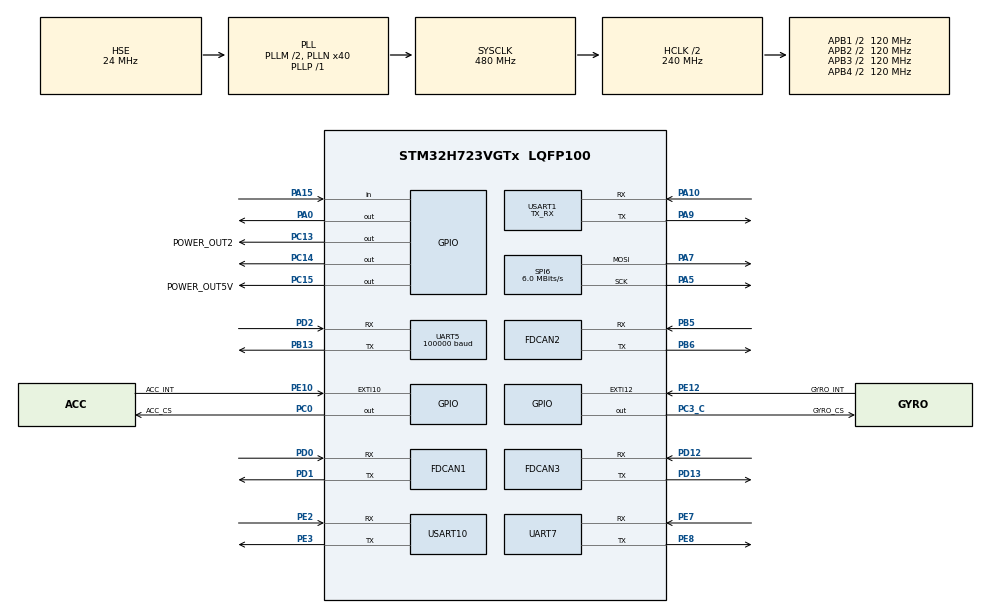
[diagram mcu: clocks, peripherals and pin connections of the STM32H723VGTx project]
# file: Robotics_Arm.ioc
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CORTEX_M7.CPU_DCache=Disabled
CORTEX_M7.CPU_ICache=Disabled
CORTEX_M7.default_mode_Activation=0
Dma.Request0=UART7_RX
Dma.Request1=UART7_TX
Dma.Request2=USART10_RX
Dma.Request3=USART10_TX
Dma.Request4=USART1_TX
Dma.Request5=UART5_RX
Dma.Request6=USART1_RX
Dma.UART5_RX.5.Direction=DMA_PERIPH_TO_MEMORY
Dma.UART5_RX.5.EventEnable=DISABLE
Dma.UART5_RX.5.FIFOMode=DMA_FIFOMODE_DISABLE
Dma.UART5_RX.5.Instance=DMA1_Stream0
Dma.UART5_RX.5.MemDataAlignment=DMA_MDATAALIGN_BYTE
Dma.UART5_RX.5.MemInc=DMA_MINC_ENABLE
Dma.UART5_RX.5.Mode=DMA_NORMAL
Dma.UART5_RX.5.PeriphDataAlignment=DMA_PDATAALIGN_BYTE
Dma.UART5_RX.5.PeriphInc=DMA_PINC_DISABLE
Dma.UART5_RX.5.Polarity=HAL_DMAMUX_REQ_GEN_RISING
Dma.UART5_RX.5.Priority=DMA_PRIORITY_VERY_HIGH
Dma.UART5_RX.5.RequestNumber=1
Dma.UART5_RX.5.SignalID=NONE
Dma.UART5_RX.5.SyncEnable=DISABLE
Dma.UART5_RX.5.SyncPolarity=HAL_DMAMUX_SYNC_NO_EVENT
Dma.UART5_RX.5.SyncRequestNumber=1
Dma.UART5_RX.5.SyncSignalID=NONE
Dma.UART7_RX.0.Direction=DMA_PERIPH_TO_MEMORY
Dma.UART7_RX.0.EventEnable=DISABLE
Dma.UART7_RX.0.FIFOMode=DMA_FIFOMODE_DISABLE
Dma.UART7_RX.0.Instance=DMA1_Stream2
Dma.UART7_RX.0.MemDataAlignment=DMA_MDATAALIGN_BYTE
Dma.UART7_RX.0.MemInc=DMA_MINC_ENABLE
Dma.UART7_RX.0.Mode=DMA_NORMAL
Dma.UART7_RX.0.PeriphDataAlignment=DMA_PDATAALIGN_BYTE
Dma.UART7_RX.0.PeriphInc=DMA_PINC_DISABLE
Dma.UART7_RX.0.Polarity=HAL_DMAMUX_REQ_GEN_RISING
Dma.UART7_RX.0.Priority=DMA_PRIORITY_LOW
Dma.UART7_RX.0.RequestNumber=1
Dma.UART7_RX.0.SignalID=NONE
Dma.UART7_RX.0.SyncEnable=DISABLE
Dma.UART7_RX.0.SyncPolarity=HAL_DMAMUX_SYNC_NO_EVENT
Dma.UART7_RX.0.SyncRequestNumber=1
Dma.UART7_RX.0.SyncSignalID=NONE
Dma.UART7_TX.1.Direction=DMA_MEMORY_TO_PERIPH
Dma.UART7_TX.1.EventEnable=DISABLE
Dma.UART7_TX.1.FIFOMode=DMA_FIFOMODE_DISABLE
Dma.UART7_TX.1.Instance=DMA1_Stream3
Dma.UART7_TX.1.MemDataAlignment=DMA_MDATAALIGN_BYTE
Dma.UART7_TX.1.MemInc=DMA_MINC_ENABLE
Dma.UART7_TX.1.Mode=DMA_NORMAL
Dma.UART7_TX.1.PeriphDataAlignment=DMA_PDATAALIGN_BYTE
Dma.UART7_TX.1.PeriphInc=DMA_PINC_DISABLE
Dma.UART7_TX.1.Polarity=HAL_DMAMUX_REQ_GEN_RISING
Dma.UART7_TX.1.Priority=DMA_PRIORITY_LOW
Dma.UART7_TX.1.RequestNumber=1
Dma.UART7_TX.1.SignalID=NONE
Dma.UART7_TX.1.SyncEnable=DISABLE
Dma.UART7_TX.1.SyncPolarity=HAL_DMAMUX_SYNC_NO_EVENT
Dma.UART7_TX.1.SyncRequestNumber=1
Dma.UART7_TX.1.SyncSignalID=NONE
Dma.USART10_RX.2.Direction=DMA_PERIPH_TO_MEMORY
Dma.USART10_RX.2.EventEnable=DISABLE
Dma.USART10_RX.2.FIFOMode=DMA_FIFOMODE_DISABLE
Dma.USART10_RX.2.Instance=DMA1_Stream4
Dma.USART10_RX.2.MemDataAlignment=DMA_MDATAALIGN_BYTE
Dma.USART10_RX.2.MemInc=DMA_MINC_ENABLE
Dma.USART10_RX.2.Mode=DMA_NORMAL
Dma.USART10_RX.2.PeriphDataAlignment=DMA_PDATAALIGN_BYTE
Dma.USART10_RX.2.PeriphInc=DMA_PINC_DISABLE
Dma.USART10_RX.2.Polarity=HAL_DMAMUX_REQ_GEN_RISING
Dma.USART10_RX.2.Priority=DMA_PRIORITY_LOW
Dma.USART10_RX.2.RequestNumber=1
Dma.USART10_RX.2.SignalID=NONE
Dma.USART10_RX.2.SyncEnable=DISABLE
Dma.USART10_RX.2.SyncPolarity=HAL_DMAMUX_SYNC_NO_EVENT
Dma.USART10_RX.2.SyncRequestNumber=1
Dma.USART10_RX.2.SyncSignalID=NONE
Dma.USART10_TX.3.Direction=DMA_MEMORY_TO_PERIPH
Dma.USART10_TX.3.EventEnable=DISABLE
Dma.USART10_TX.3.FIFOMode=DMA_FIFOMODE_DISABLE
Dma.USART10_TX.3.Instance=DMA1_Stream5
Dma.USART10_TX.3.MemDataAlignment=DMA_MDATAALIGN_BYTE
Dma.USART10_TX.3.MemInc=DMA_MINC_ENABLE
Dma.USART10_TX.3.Mode=DMA_NORMAL
Dma.USART10_TX.3.PeriphDataAlignment=DMA_PDATAALIGN_BYTE
Dma.USART10_TX.3.PeriphInc=DMA_PINC_DISABLE
Dma.USART10_TX.3.Polarity=HAL_DMAMUX_REQ_GEN_RISING
Dma.USART10_TX.3.Priority=DMA_PRIORITY_LOW
Dma.USART10_TX.3.RequestNumber=1
Dma.USART10_TX.3.SignalID=NONE
Dma.USART10_TX.3.SyncEnable=DISABLE
Dma.USART10_TX.3.SyncPolarity=HAL_DMAMUX_SYNC_NO_EVENT
Dma.USART10_TX.3.SyncRequestNumber=1
Dma.USART10_TX.3.SyncSignalID=NONE
Dma.USART1_RX.6.Direction=DMA_PERIPH_TO_MEMORY
Dma.USART1_RX.6.EventEnable=DISABLE
Dma.USART1_RX.6.FIFOMode=DMA_FIFOMODE_DISABLE
Dma.USART1_RX.6.Instance=DMA1_Stream1
Dma.USART1_RX.6.MemDataAlignment=DMA_MDATAALIGN_BYTE
Dma.USART1_RX.6.MemInc=DMA_MINC_ENABLE
Dma.USART1_RX.6.Mode=DMA_NORMAL
Dma.USART1_RX.6.PeriphDataAlignment=DMA_PDATAALIGN_BYTE
Dma.USART1_RX.6.PeriphInc=DMA_PINC_DISABLE
Dma.USART1_RX.6.Polarity=HAL_DMAMUX_REQ_GEN_RISING
Dma.USART1_RX.6.Priority=DMA_PRIORITY_LOW
Dma.USART1_RX.6.RequestNumber=1
Dma.USART1_RX.6.SignalID=NONE
Dma.USART1_RX.6.SyncEnable=DISABLE
Dma.USART1_RX.6.SyncPolarity=HAL_DMAMUX_SYNC_NO_EVENT
Dma.USART1_RX.6.SyncRequestNumber=1
Dma.USART1_RX.6.SyncSignalID=NONE
Dma.USART1_TX.4.Direction=DMA_MEMORY_TO_PERIPH
Dma.USART1_TX.4.EventEnable=DISABLE
Dma.USART1_TX.4.FIFOMode=DMA_FIFOMODE_DISABLE
Dma.USART1_TX.4.Instance=DMA1_Stream6
Dma.USART1_TX.4.MemDataAlignment=DMA_MDATAALIGN_BYTE
Dma.USART1_TX.4.MemInc=DMA_MINC_ENABLE
Dma.USART1_TX.4.Mode=DMA_NORMAL
Dma.USART1_TX.4.PeriphDataAlignment=DMA_PDATAALIGN_BYTE
Dma.USART1_TX.4.PeriphInc=DMA_PINC_DISABLE
Dma.USART1_TX.4.Polarity=HAL_DMAMUX_REQ_GEN_RISING
Dma.USART1_TX.4.Priority=DMA_PRIORITY_HIGH
Dma.USART1_TX.4.RequestNumber=1
Dma.USART1_TX.4.SignalID=NONE
Dma.USART1_TX.4.SyncEnable=DISABLE
Dma.USART1_TX.4.SyncPolarity=HAL_DMAMUX_SYNC_NO_EVENT
Dma.USART1_TX.4.SyncRequestNumber=1
Dma.USART1_TX.4.SyncSignalID=NONE
FDCAN1.CalculateBaudRateNominal=1000000
FDCAN1.CalculateTimeBitNominal=1000
FDCAN1.CalculateTimeQuantumNominal=200.0
FDCAN1.NominalPrescaler=24
FDCAN1.NominalTimeSeg1=2
FDCAN1.NominalTimeSeg2=2
FDCAN1.RxFifo0ElmtsNbr=32
FDCAN1.StdFiltersNbr=1
FDCAN1.TxFifoQueueElmtsNbr=32
FDCAN2.CalculateBaudRateNominal=1000000
FDCAN2.CalculateTimeBitNominal=1000
FDCAN2.CalculateTimeQuantumNominal=200.0
FDCAN2.MessageRAMOffset=0x406
FDCAN2.NominalPrescaler=24
FDCAN2.RxFifo0ElmtsNbr=32
FDCAN2.StdFiltersNbr=1
FDCAN2.TxFifoQueueElmtsNbr=32
FDCAN3.CalculateBaudRateNominal=1000000
FDCAN3.CalculateTimeBitNominal=1000
FDCAN3.CalculateTimeQuantumNominal=200.0
FDCAN3.MessageRAMOffset=0x812
FDCAN3.NominalPrescaler=24
FDCAN3.RxFifo0ElmtsNbr=32
FDCAN3.StdFiltersNbr=1
FDCAN3.TxFifoQueueElmtsNbr=32
FREERTOS.INCLUDE_eTaskGetState=1
FREERTOS.INCLUDE_uxTaskGetStackHighWaterMark=1
FREERTOS.INCLUDE_vTaskDelayUntil=1
FREERTOS.INCLUDE_xQueueGetMutexHolder=1
FREERTOS.INCLUDE_xTaskGetCurrentTaskHandle=1
FREERTOS.INCLUDE_xTimerPendFunctionCall=1
FREERTOS.MEMORY_ALLOCATION=2
FREERTOS.Tasks01=StartDebugTask,0,128,StartDebug,Default,NULL,Static,defaultTaskBuffer,defaultTaskControlBlock;MotorOutputTask,2,512,MotorOutput,Default,NULL,Static,myTask04Buffer,myTask04ControlBlock;ArmTask,1,256,Arm,Default,NULL,Static,myTask05Buffer,myTask05ControlBlock;RCTask,2,1024,RC,Default,NULL,Static,myTask06Buffer,myTask06ControlBlock
FREERTOS.configENABLE_FPU=1
FREERTOS.configUSE_COUNTING_SEMAPHORES=1
FREERTOS.configUSE_RECURSIVE_MUTEXES=1
FREERTOS.configUSE_TIMERS=1
FREERTOS.configUSE_TRACE_FACILITY=1
Mcu.Family=STM32H7
Mcu.Name=STM32H723VGTx
Mcu.Package=LQFP100
NVIC.DMA1_Stream0_IRQn=true\:5\:0\:false\:false\:true\:true\:false\:true\:true
NVIC.DMA1_Stream1_IRQn=true\:5\:0\:false\:false\:true\:true\:false\:true\:true
NVIC.DMA1_Stream2_IRQn=true\:5\:0\:false\:false\:true\:true\:false\:true\:true
NVIC.DMA1_Stream3_IRQn=true\:5\:0\:false\:false\:true\:true\:false\:true\:true
NVIC.DMA1_Stream4_IRQn=true\:5\:0\:false\:false\:true\:true\:false\:true\:true
NVIC.DMA1_Stream5_IRQn=true\:5\:0\:false\:false\:true\:true\:false\:true\:true
NVIC.DMA1_Stream6_IRQn=true\:5\:0\:false\:false\:true\:true\:false\:true\:true
NVIC.EXTI15_10_IRQn=true\:6\:0\:true\:false\:true\:true\:true\:true\:true
NVIC.FDCAN1_IT0_IRQn=true\:5\:0\:false\:false\:true\:true\:true\:true\:true
NVIC.FDCAN1_IT1_IRQn=true\:5\:0\:false\:false\:true\:true\:true\:true\:true
NVIC.FDCAN2_IT0_IRQn=true\:5\:0\:false\:false\:true\:true\:true\:true\:true
NVIC.FDCAN2_IT1_IRQn=true\:5\:0\:false\:false\:true\:true\:true\:true\:true
NVIC.FDCAN3_IT0_IRQn=true\:5\:0\:false\:false\:true\:true\:true\:true\:true
NVIC.FDCAN3_IT1_IRQn=true\:5\:0\:false\:false\:true\:true\:true\:true\:true
NVIC.PriorityGroup=NVIC_PRIORITYGROUP_4
NVIC.TIM1_UP_IRQn=true\:15\:0\:false\:false\:true\:false\:false\:true\:true
NVIC.TimeBase=TIM1_UP_IRQn
NVIC.TimeBaseIP=TIM1
NVIC.UART5_IRQn=true\:5\:0\:false\:false\:true\:true\:true\:true\:true
NVIC.UART7_IRQn=true\:5\:0\:false\:false\:true\:true\:true\:true\:true
NVIC.USART10_IRQn=true\:5\:0\:false\:false\:true\:true\:true\:true\:true
NVIC.USART1_IRQn=true\:5\:0\:false\:false\:true\:true\:true\:true\:true
PA0.GPIO_Speed=GPIO_SPEED_FREQ_VERY_HIGH
PA0.Signal=GPIO_Output
PA10.GPIO_Speed=GPIO_SPEED_FREQ_VERY_HIGH
PA10.Mode=Asynchronous
PA10.Signal=USART1_RX
PA13(JTMS/SWDIO).Mode=Serial_Wire
PA13(JTMS/SWDIO).Signal=DEBUG_JTMS-SWDIO
PA14(JTCK/SWCLK).Mode=Serial_Wire
PA14(JTCK/SWCLK).Signal=DEBUG_JTCK-SWCLK
PA15(JTDI).Signal=GPIO_Input
PA5.Mode=TX_Only_Simplex_Unidirect_Master
PA5.Signal=SPI6_SCK
PA7.Mode=TX_Only_Simplex_Unidirect_Master
PA7.Signal=SPI6_MOSI
PA9.GPIO_Speed=GPIO_SPEED_FREQ_VERY_HIGH
PA9.Mode=Asynchronous
PA9.Signal=USART1_TX
PB13.GPIO_Speed=GPIO_SPEED_FREQ_LOW
PB13.Mode=Asynchronous
PB13.Signal=UART5_TX
PB5.Mode=FDCAN_Activate
PB5.Signal=FDCAN2_RX
PB6.Mode=FDCAN_Activate
PB6.Signal=FDCAN2_TX
PC0.GPIO_Label=ACC_CS
PC0.GPIO_Speed=GPIO_SPEED_FREQ_VERY_HIGH
PC0.PinState=GPIO_PIN_SET
PC0.Signal=GPIO_Output
PC13.GPIO_Label=POWER_OUT2
PC13.PinState=GPIO_PIN_SET
PC13.Signal=GPIO_Output
PC14-OSC32_IN.Signal=GPIO_Output
PC15-OSC32_OUT.GPIO_Label=POWER_OUT5V
PC15-OSC32_OUT.PinState=GPIO_PIN_SET
PC15-OSC32_OUT.Signal=GPIO_Output
PC3_C.GPIO_Label=GYRO_CS
PC3_C.GPIO_Speed=GPIO_SPEED_FREQ_VERY_HIGH
PC3_C.PinState=GPIO_PIN_SET
PC3_C.Signal=GPIO_Output
PD0.Mode=FDCAN_Activate
PD0.Signal=FDCAN1_RX
PD1.Mode=FDCAN_Activate
PD1.Signal=FDCAN1_TX
PD12.Mode=FDCAN_Activate
PD12.Signal=FDCAN3_RX
PD13.Mode=FDCAN_Activate
PD13.Signal=FDCAN3_TX
PD2.GPIO_Speed=GPIO_SPEED_FREQ_LOW
PD2.Mode=Asynchronous
PD2.Signal=UART5_RX
PE10.GPIO_Label=ACC_INT
PE10.Signal=GPXTI10
PE12.GPIO_Label=GYRO_INT
PE12.Signal=GPXTI12
PE2.GPIO_Speed=GPIO_SPEED_FREQ_VERY_HIGH
PE2.Mode=Asynchronous
PE2.Signal=USART10_RX
PE3.GPIO_Speed=GPIO_SPEED_FREQ_VERY_HIGH
PE3.Mode=Asynchronous
PE3.Signal=USART10_TX
PE7.GPIO_Speed=GPIO_SPEED_FREQ_VERY_HIGH
PE7.Mode=Asynchronous
PE7.Signal=UART7_RX
PE8.GPIO_Speed=GPIO_SPEED_FREQ_VERY_HIGH
PE8.Mode=Asynchronous
PE8.Signal=UART7_TX
PH0-OSC_IN.Mode=HSE-External-Oscillator
PH0-OSC_IN.Signal=RCC_OSC_IN
PH1-OSC_OUT.Mode=HSE-External-Oscillator
PH1-OSC_OUT.Signal=RCC_OSC_OUT
ProjectManager.HeapSize=0x200
ProjectManager.StackSize=0x400
ProjectManager.TargetToolchain=STM32CubeIDE
RCC.ADCFreq_Value=96000000
RCC.APB1Freq_Value=120000000
RCC.APB2Freq_Value=120000000
RCC.APB3Freq_Value=120000000
RCC.APB4Freq_Value=120000000
RCC.CortexFreq_Value=480000000
RCC.D1PPRE=RCC_APB3_DIV2
RCC.D2PPRE1=RCC_APB1_DIV2
RCC.D2PPRE2=RCC_APB2_DIV2
RCC.D3PPRE=RCC_APB4_DIV2
RCC.DIVM1=2
RCC.DIVM2=2
RCC.DIVN1=40
RCC.DIVN2=16
RCC.DIVP1=1
RCC.DIVQ1=4
RCC.HCLKFreq_Value=240000000
RCC.HPRE=RCC_HCLK_DIV2
RCC.HSE_VALUE=24000000
RCC.PLL1_VCO_SEL-AdvancedSettings=RCC_PLL1VCOMEDIUM
RCC.PLL2FRACN=0
RCC.PLL2_VCO_SEL-AdvancedSettings=RCC_PLL2VCOWIDE
RCC.PLL3_VCI_Range-AdvancedSettings=RCC_PLL3VCIRANGE_3
RCC.PLL3_VCO_SEL-AdvancedSettings=RCC_PLL3VCOMEDIUM
RCC.PLLFRACN=0
RCC.PLLSourceVirtual=RCC_PLLSOURCE_HSE
RCC.SPI6CLockSelection=RCC_SPI6CLKSOURCE_HSE
RCC.SYSCLKFreq_VALUE=480000000
RCC.SYSCLKSource=RCC_SYSCLKSOURCE_PLLCLK
RCC.USBCLockSelection=RCC_USBCLKSOURCE_HSI48
RCC.USBFreq_Value=48000000
SPI6.BaudRatePrescaler=SPI_BAUDRATEPRESCALER_4
SPI6.CLKPhase=SPI_PHASE_2EDGE
SPI6.CalculateBaudRate=6.0 MBits/s
SPI6.DataSize=SPI_DATASIZE_8BIT
SPI6.Direction=SPI_DIRECTION_2LINES_TXONLY
SPI6.Mode=SPI_MODE_MASTER
SPI6.VirtualType=VM_MASTER
STMicroelectronics.X-CUBE-ALGOBUILD.1.3.0.LibraryCcDSPOoLibraryJjDSPOoLibrary=true
UART5.BaudRate=100000
UART5.Parity=PARITY_EVEN
UART5.StopBits=UART_STOPBITS_2
UART5.WordLength=WORDLENGTH_9B
USART1.FIFOMode=FIFOMODE_DISABLE
USART1.Mode=MODE_TX_RX
USART1.VirtualMode-Asynchronous=VM_ASYNC
USART10.VirtualMode=VM_ASYNC
VP_FREERTOS_VS_CMSIS_V1.Mode=CMSIS_V1
VP_STMicroelectronics.X-CUBE-ALGOBUILD_VS_DSPOoLibraryJjLibrary_1.3.0_1.3.0.Mode=DSPOoLibraryJjLibrary
VP_SYS_VS_tim1.Mode=TIM1
board=custom

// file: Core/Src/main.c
/* USER CODE BEGIN Header */
/**
  ******************************************************************************
  * @file           : main.c
  * @brief          : Main program body
  ******************************************************************************
  * @attention
  *
  * Copyright (c) 2024 STMicroelectronics.
  * All rights reserved.
  *
  * This software is licensed under terms that can be found in the LICENSE file
  * in the root directory of this software component.
  * If no LICENSE file comes with this software, it is provided AS-IS.
  *
  ******************************************************************************
  */
/* USER CODE END Header */
#include "main.h"
#include "cmsis_os.h"
#include "dma.h"
#include "fdcan.h"
#include "spi.h"
#include "usart.h"
#include "gpio.h"

void SystemClock_Config(void);
void MX_FREERTOS_Init(void);

int main(void)
{

  /* MCU Configuration--------------------------------------------------------*/

  /* Reset of all peripherals, Initializes the Flash interface and the Systick. */
  HAL_Init();

  /* Configure the system clock */
  SystemClock_Config();

  /* Initialize all configured peripherals */
  MX_GPIO_Init();
  MX_DMA_Init();
  MX_USART1_UART_Init();
  MX_UART7_Init();
  MX_USART10_UART_Init();
  MX_FDCAN1_Init();
  MX_FDCAN2_Init();
  MX_FDCAN3_Init();
  MX_UART5_Init();
  MX_SPI6_Init();

  /* Call init function for freertos objects (in freertos.c) */
  MX_FREERTOS_Init();

  /* Start scheduler */
  osKernelStart();

  /* We should never get here as control is now taken by the scheduler */
  /* Infinite loop */
  while (1)
  {

  }
}

void SystemClock_Config(void)
{
  RCC_OscInitTypeDef RCC_OscInitStruct = {0};
  RCC_ClkInitTypeDef RCC_ClkInitStruct = {0};

  /** Supply configuration update enable
  */
  HAL_PWREx_ConfigSupply(PWR_LDO_SUPPLY);

  /** Configure the main internal regulator output voltage
  */
  __HAL_PWR_VOLTAGESCALING_CONFIG(PWR_REGULATOR_VOLTAGE_SCALE0);

  while(!__HAL_PWR_GET_FLAG(PWR_FLAG_VOSRDY)) {}

  /** Initializes the RCC Oscillators according to the specified parameters
  * in the RCC_OscInitTypeDef structure.
  */
  RCC_OscInitStruct.OscillatorType = RCC_OSCILLATORTYPE_HSE;
  RCC_OscInitStruct.HSEState = RCC_HSE_ON;
  RCC_OscInitStruct.PLL.PLLState = RCC_PLL_ON;
  RCC_OscInitStruct.PLL.PLLSource = RCC_PLLSOURCE_HSE;
  RCC_OscInitStruct.PLL.PLLM = 2;
  RCC_OscInitStruct.PLL.PLLN = 40;
  RCC_OscInitStruct.PLL.PLLP = 1;
  RCC_OscInitStruct.PLL.PLLQ = 4;
  RCC_OscInitStruct.PLL.PLLR = 2;
  RCC_OscInitStruct.PLL.PLLRGE = RCC_PLL1VCIRANGE_3;
  RCC_OscInitStruct.PLL.PLLVCOSEL = RCC_PLL1VCOWIDE;
  RCC_OscInitStruct.PLL.PLLFRACN = 0;
  if (HAL_RCC_OscConfig(&RCC_OscInitStruct) != HAL_OK)
  {
    Error_Handler();
  }

  /** Initializes the CPU, AHB and APB buses clocks
  */
  RCC_ClkInitStruct.ClockType = RCC_CLOCKTYPE_HCLK|RCC_CLOCKTYPE_SYSCLK
                              |RCC_CLOCKTYPE_PCLK1|RCC_CLOCKTYPE_PCLK2
                              |RCC_CLOCKTYPE_D3PCLK1|RCC_CLOCKTYPE_D1PCLK1;
  RCC_ClkInitStruct.SYSCLKSource = RCC_SYSCLKSOURCE_PLLCLK;
  RCC_ClkInitStruct.SYSCLKDivider = RCC_SYSCLK_DIV1;
  RCC_ClkInitStruct.AHBCLKDivider = RCC_HCLK_DIV2;
  RCC_ClkInitStruct.APB3CLKDivider = RCC_APB3_DIV2;
  RCC_ClkInitStruct.APB1CLKDivider = RCC_APB1_DIV2;
  RCC_ClkInitStruct.APB2CLKDivider = RCC_APB2_DIV2;
  RCC_ClkInitStruct.APB4CLKDivider = RCC_APB4_DIV2;

  if (HAL_RCC_ClockConfig(&RCC_ClkInitStruct, FLASH_LATENCY_3) != HAL_OK)
  {
    Error_Handler();
  }
}

void HAL_TIM_PeriodElapsedCallback(TIM_HandleTypeDef *htim)
{
  if (htim->Instance == TIM1) {
    HAL_IncTick();
  }
}

void Error_Handler(void)
{
  __disable_irq();
  while (1)
  {
  }
}

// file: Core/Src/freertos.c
/* USER CODE BEGIN Header */
/**
  ******************************************************************************
  * File Name          : freertos.c
  * Description        : Code for freertos applications
  ******************************************************************************
  * @attention
  *
  * Copyright (c) 2024 STMicroelectronics.
  * All rights reserved.
  *
  * This software is licensed under terms that can be found in the LICENSE file
  * in the root directory of this software component.
  * If no LICENSE file comes with this software, it is provided AS-IS.
  *
  ******************************************************************************
  */
/* USER CODE END Header */

#include "FreeRTOS.h"
#include "task.h"
#include "main.h"
#include "cmsis_os.h"

/* USER CODE BEGIN Includes */
#include "uart_bsp.h"
#include "can_bsp.h"
#include "BMI088driver.h"
#include "adc_modlue.h"
#include "usart.h"
#include "ws2812.h"
#include "DeepMotor.h"
#include "pid.h"
#include "Programming_by_Demonstration.h"
#include "printf.h"
/* USER CODE END Includes */

/* USER CODE BEGIN Variables */
uint8_t r = 1;
uint8_t g = 1;
uint8_t b = 1;
/* USER CODE END Variables */
osThreadId StartDebugTaskHandle;
uint32_t defaultTaskBuffer[ 128 ];
osStaticThreadDef_t defaultTaskControlBlock;
osThreadId MotorOutputTaskHandle;
uint32_t myTask04Buffer[ 512 ];
osStaticThreadDef_t myTask04ControlBlock;
osThreadId ArmTaskHandle;
uint32_t myTask05Buffer[ 256 ];
osStaticThreadDef_t myTask05ControlBlock;
osThreadId RCTaskHandle;
uint32_t myTask06Buffer[ 1024 ];
osStaticThreadDef_t myTask06ControlBlock;

void StartDebug(void const * argument);
void MotorOutput(void const * argument);
void Arm(void const * argument);
void RC(void const * argument);

void MX_FREERTOS_Init(void); /* (MISRA C 2004 rule 8.1) */

/* GetIdleTaskMemory prototype (linked to static allocation support) */
void vApplicationGetIdleTaskMemory( StaticTask_t **ppxIdleTaskTCBBuffer, StackType_t **ppxIdleTaskStackBuffer, uint32_t *pulIdleTaskStackSize );

/* GetTimerTaskMemory prototype (linked to static allocation support) */
void vApplicationGetTimerTaskMemory( StaticTask_t **ppxTimerTaskTCBBuffer, StackType_t **ppxTimerTaskStackBuffer, uint32_t *pulTimerTaskStackSize );

/* USER CODE BEGIN GET_IDLE_TASK_MEMORY */
static StaticTask_t xIdleTaskTCBBuffer;
static StackType_t xIdleStack[configMINIMAL_STACK_SIZE];

void vApplicationGetIdleTaskMemory( StaticTask_t **ppxIdleTaskTCBBuffer, StackType_t **ppxIdleTaskStackBuffer, uint32_t *pulIdleTaskStackSize )
{
  *ppxIdleTaskTCBBuffer = &xIdleTaskTCBBuffer;
  *ppxIdleTaskStackBuffer = &xIdleStack[0];
  *pulIdleTaskStackSize = configMINIMAL_STACK_SIZE;
  /* place for user code */
}
/* USER CODE END GET_IDLE_TASK_MEMORY */

/* USER CODE BEGIN GET_TIMER_TASK_MEMORY */
static StaticTask_t xTimerTaskTCBBuffer;
static StackType_t xTimerStack[configTIMER_TASK_STACK_DEPTH];

void vApplicationGetTimerTaskMemory( StaticTask_t **ppxTimerTaskTCBBuffer, StackType_t **ppxTimerTaskStackBuffer, uint32_t *pulTimerTaskStackSize )
{
  *ppxTimerTaskTCBBuffer = &xTimerTaskTCBBuffer;
  *ppxTimerTaskStackBuffer = &xTimerStack[0];
  *pulTimerTaskStackSize = configTIMER_TASK_STACK_DEPTH;
  /* place for user code */
}
/* USER CODE END GET_TIMER_TASK_MEMORY */

void MX_FREERTOS_Init(void) {

  /* Create the thread(s) */
  /* definition and creation of StartDebugTask */
  osThreadStaticDef(StartDebugTask, StartDebug, osPriorityNormal, 0, 128, defaultTaskBuffer, &defaultTaskControlBlock);
  StartDebugTaskHandle = osThreadCreate(osThread(StartDebugTask), NULL);

  /* definition and creation of MotorOutputTask */
  osThreadStaticDef(MotorOutputTask, MotorOutput, osPriorityHigh, 0, 512, myTask04Buffer, &myTask04ControlBlock);
  MotorOutputTaskHandle = osThreadCreate(osThread(MotorOutputTask), NULL);

  /* definition and creation of ArmTask */
  osThreadStaticDef(ArmTask, Arm, osPriorityAboveNormal, 0, 256, myTask05Buffer, &myTask05ControlBlock);
  ArmTaskHandle = osThreadCreate(osThread(ArmTask), NULL);

  /* definition and creation of RCTask */
  osThreadStaticDef(RCTask, RC, osPriorityHigh, 0, 1024, myTask06Buffer, &myTask06ControlBlock);
  RCTaskHandle = osThreadCreate(osThread(RCTask), NULL);

  /* USER CODE BEGIN RTOS_THREADS */
  /* add threads, ... */

    vTaskSuspend(MotorOutputTaskHandle);
    vTaskSuspend(ArmTaskHandle);
    vTaskSuspend(RCTaskHandle);
  /* USER CODE END RTOS_THREADS */

}

void StartDebug(void const * argument)
{
  /* USER CODE BEGIN StartDebug */
    HAL_UARTEx_ReceiveToIdle_DMA(&huart5, rx_buff, BUFF_SIZE*2);
    can_bsp_init();

    AllMotor_ENABLE();
    Six_PID_Init();
    ChangeGainOfPID(10.0f,0.5f,0.0f,0.0f);

    vTaskResume(MotorOutputTaskHandle);
    vTaskResume(ArmTaskHandle);
    vTaskResume(RCTaskHandle);
  /* Infinite loop */
  for(;;)
  {
      WS2812_Ctrl(r, g, b);
      r++;
      g += 5;
      b += 10;
      osDelay(1);
      r++;g++;b++;

    osDelay(100);
  }
  /* USER CODE END StartDebug */
}

void MotorOutput(void const * argument)
{
  /* USER CODE BEGIN MotorOutput */
  /* Infinite loop */
  for(;;)
  {
//      SetPoint(&AngleLoop[1],angle_to_radian(360),1);
//      PID_PosLocCalc(&AngleLoop[1],Final_Data[1].Angle,1);
//
      CAN_CMD_MOTOR_CONTROL(&hfdcan1,0.0f,2.0f,0.0f,3.0f,0.0f,Control_ID1);

    osDelay(5);
  }
  /* USER CODE END MotorOutput */
}

void Arm(void const * argument)
{
  for(;;)
  {
    osDelay(1);
  }
}

void RC(void const * argument)
{
  /* USER CODE BEGIN RC */
  /* Infinite loop */
  for(;;)
  {
      RC_process();

    osDelay(1);
  }
  /* USER CODE END RC */
}
